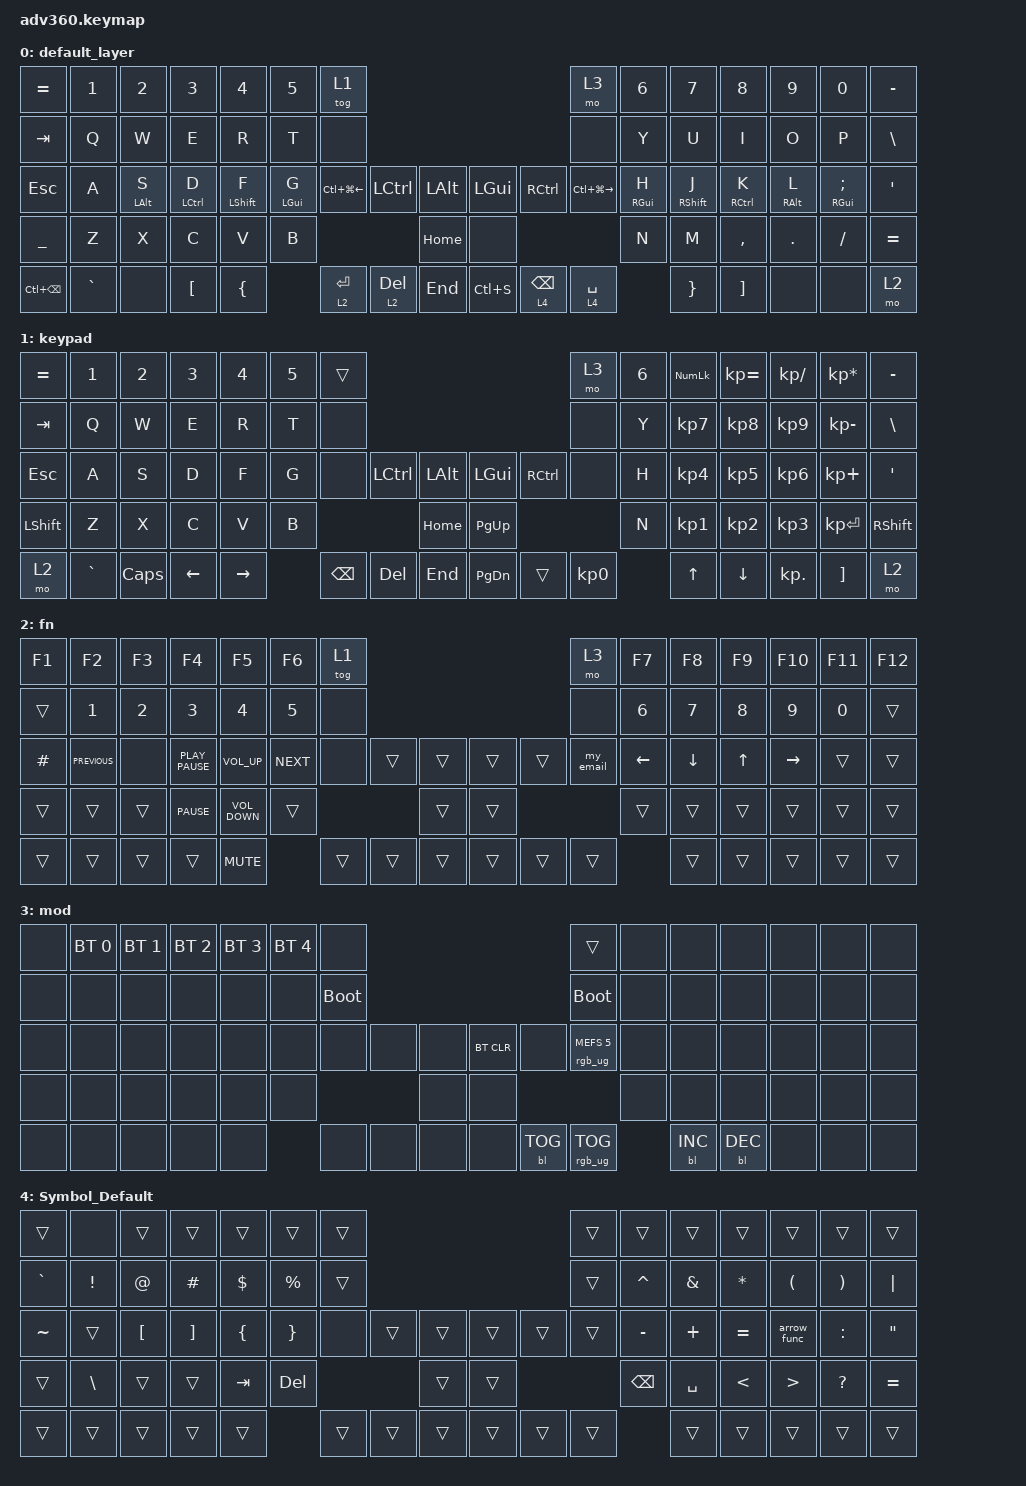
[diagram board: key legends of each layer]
#include <behaviors.dtsi>
#include <dt-bindings/zmk/backlight.h>
#include <dt-bindings/zmk/bt.h>
#include <dt-bindings/zmk/keys.h>
#include <dt-bindings/zmk/rgb.h>

/ {
    behaviors {
        #include "macros.dtsi"
      #include "version.dtsi"
      #ifndef VERSION_MACRO

        my_email: my_email {
            compatible = "zmk,behavior-macro";
            #binding-cells = <0>;
            bindings = <&kp J &kp R &kp O &kp D &kp R &kp I &kp Q &kp U &kp E &kp Z &kp N0 &kp N4 &kp N0 &kp N7 &kp AT &kp G &kp M &kp A &kp I &kp L &kp DOT &kp C &kp O &kp M>;
            label = "my_email";
            wait-ms = <10>;
            tap-ms = <10>;
        };

        arrow_func: arrow_func {
            compatible = "zmk,behavior-macro";
            #binding-cells = <0>;
            bindings = <&kp EQUAL &kp GREATER_THAN>;
            label = "ARROW_FUNC";
        };

        #endif

        hm: homerow_mods {
            compatible = "zmk,behavior-hold-tap";
            label = "HOMEROW_MODS";
            #binding-cells = <2>;
            tapping-term-ms = <200>;
            quick_tap_ms = <175>;
            flavor = "tap-preferred";
            bindings = <&kp>, <&kp>;
        };

        hold_tap: hold_tap {
            compatible = "zmk,behavior-hold-tap";
            label = "HOLD_TAP";
            bindings = <&mo>, <&kp>;

            #binding-cells = <2>;
            tapping-term-ms = <250>;
            flavor = "tap-preferred";
        };
    };

    macros {
    };

    keymap {
        compatible = "zmk,keymap";

        default_layer {
            bindings = <
&kp EQUAL          &kp N1     &kp N2          &kp N3              &kp N4            &kp N5          &tog 1                                                                                   &mo 3              &kp N6           &kp N7             &kp N8               &kp N9           &kp N0              &kp MINUS
&kp TAB            &kp Q      &kp W           &kp E               &kp R             &kp T           &none                                                                                    &none              &kp Y            &kp U              &kp I                &kp O            &kp P               &kp BSLH
&kp ESC            &kp A      &hm LEFT_ALT S  &hm LEFT_CONTROL D  &hm LEFT_SHIFT F  &hm LEFT_GUI G  &kp LC(LG(LEFT_ARROW))  &kp LCTRL        &kp LALT      &kp LGUI   &kp RCTRL              &kp LC(LG(RIGHT))  &hm RIGHT_GUI H  &hm RIGHT_SHIFT J  &hm RIGHT_CONTROL K  &hm RIGHT_ALT L  &hm RIGHT_GUI SEMI  &kp SQT
&kp UNDERSCORE     &kp Z      &kp X           &kp C               &kp V             &kp B                                                    &kp HOME      &none                                                &kp N            &kp M              &kp COMMA            &kp DOT          &kp FSLH            &kp EQUAL
&kp LC(BACKSPACE)  &kp GRAVE  &none           &kp LEFT_BRACKET    &kp LEFT_BRACE                    &hold_tap 2 ENTER       &hold_tap 2 DEL  &kp END       &kp LC(S)  &hold_tap 4 BACKSPACE  &hold_tap 4 SPACE                   &kp RIGHT_BRACE    &kp RIGHT_BRACKET    &none            &none               &mo 2
            >;
        };

        keypad {
            bindings = <
&kp EQUAL  &kp N1     &kp N2    &kp N3    &kp N4     &kp N5  &trans                                                   &mo 3      &kp N6  &kp KP_NUM  &kp KP_EQUAL  &kp KP_DIVIDE  &kp KP_MULTIPLY  &kp MINUS
&kp TAB    &kp Q      &kp W     &kp E     &kp R      &kp T   &none                                                    &none      &kp Y   &kp KP_N7   &kp KP_N8     &kp KP_N9      &kp KP_MINUS     &kp BSLH
&kp ESC    &kp A      &kp S     &kp D     &kp F      &kp G   &none     &kp LCTRL  &kp LALT      &kp LGUI   &kp RCTRL  &none      &kp H   &kp KP_N4   &kp KP_N5     &kp KP_N6      &kp KP_PLUS      &kp SQT
&kp LSHFT  &kp Z      &kp X     &kp C     &kp V      &kp B                        &kp HOME      &kp PG_UP                        &kp N   &kp KP_N1   &kp KP_N2     &kp KP_N3      &kp KP_ENTER     &kp RSHFT
&mo 2      &kp GRAVE  &kp CAPS  &kp LEFT  &kp RIGHT          &kp BSPC  &kp DEL    &kp END       &kp PG_DN  &trans     &kp KP_N0          &kp UP      &kp DOWN      &kp KP_DOT     &kp RBKT         &mo 2
            >;
        };

        fn {
            bindings = <
&kp F1     &kp F2          &kp F3        &kp F4            &kp F5             &kp F6      &tog 1                                      &mo 3      &kp F7        &kp F8    &kp F9        &kp F10       &kp F11       &kp F12
&trans     &kp NUMBER_1    &kp NUMBER_2  &kp NUMBER_3      &kp NUMBER_4       &kp N5      &none                                       &none      &kp NUMBER_6  &kp N7    &kp NUMBER_8  &kp NUMBER_9  &kp NUMBER_0  &trans
&kp POUND  &kp C_PREVIOUS  &none         &kp K_PLAY_PAUSE  &kp C_VOLUME_UP    &kp C_NEXT  &none   &trans  &trans      &trans  &trans  &my_email  &kp LEFT      &kp DOWN  &kp UP_ARROW  &kp RIGHT     &trans        &trans
&trans     &trans          &trans        &kp C_PAUSE       &kp C_VOLUME_DOWN  &trans                      &trans      &trans                     &trans        &trans    &trans        &trans        &trans        &trans
&trans     &trans          &trans        &trans            &kp K_MUTE                     &trans  &trans  &trans      &trans  &trans  &trans                   &trans    &trans        &trans        &trans        &trans
            >;
        };

        mod {
            bindings = <
&none  &bt BT_SEL 0  &bt BT_SEL 1  &bt BT_SEL 2  &bt BT_SEL 3  &bt BT_SEL 4  &none                                                  &trans                  &none  &none       &none       &none  &none  &none
&none  &none         &none         &none         &none         &none         &bootloader                                            &bootloader             &none  &none       &none       &none  &none  &none
&none  &none         &none         &none         &none         &none         &none        &none  &none      &bt BT_CLR  &none       &rgb_ug RGB_MEFS_CMD 5  &none  &none       &none       &none  &none  &none
&none  &none         &none         &none         &none         &none                             &none      &none                                           &none  &none       &none       &none  &none  &none
&none  &none         &none         &none         &none                       &none        &none  &none      &none       &bl BL_TOG  &rgb_ug RGB_TOG                &bl BL_INC  &bl BL_DEC  &none  &none  &none
            >;
        };

        Symbol_Default {
            bindings = <
&trans     &none          &trans            &trans             &trans          &trans           &trans                                      &trans  &trans         &trans     &trans         &trans                &trans                 &trans
&kp GRAVE  &kp EXCL       &kp AT            &kp POUND          &kp DOLLAR      &kp PERCENT      &trans                                      &trans  &kp CARET      &kp AMPS   &kp ASTRK      &kp LEFT_PARENTHESIS  &kp RIGHT_PARENTHESIS  &kp PIPE
&kp TILDE  &trans         &kp LEFT_BRACKET  &kp RIGHT_BRACKET  &kp LEFT_BRACE  &kp RIGHT_BRACE  &none   &trans  &trans      &trans  &trans  &trans  &kp MINUS      &kp PLUS   &kp EQUAL      &arrow_func           &kp COLON              &kp DOUBLE_QUOTES
&trans     &kp BACKSLASH  &trans            &trans             &kp TAB         &kp DELETE                       &trans      &trans                  &kp BACKSPACE  &kp SPACE  &kp LESS_THAN  &kp GREATER_THAN      &kp QUESTION           &kp EQUAL
&trans     &trans         &trans            &trans             &trans                           &trans  &trans  &trans      &trans  &trans  &trans                 &trans     &trans         &trans                &trans                 &trans
            >;
        };
    };
};
